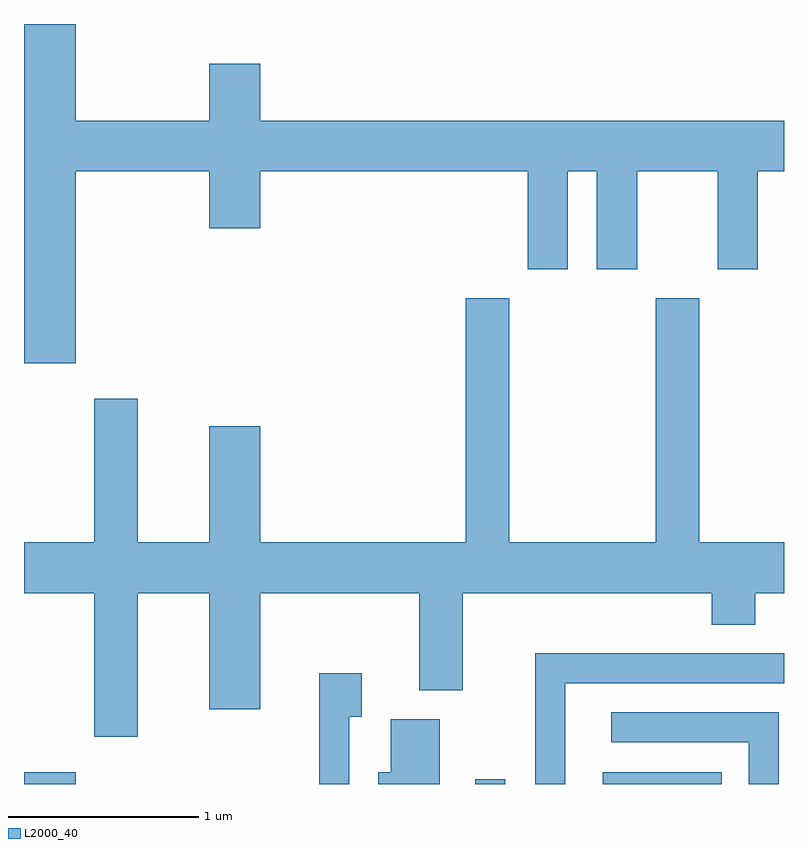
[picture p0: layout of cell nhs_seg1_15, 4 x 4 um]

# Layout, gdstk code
import gdstk
lib = gdstk.Library(unit=1e-6, precision=1e-09)
def R(c, l, rs):  # rectangles x0, y0, x1, y1
    for r in rs: c.add(gdstk.rectangle(r[:2], r[2:], *l))
def P(c, l, *ps):  # polygons
    for p in ps: c.add(gdstk.Polygon(p, *l))
L2000_40 = (2000, 40)

nhs_seg1_15 = lib.new_cell('nhs_seg1_15')
R(nhs_seg1_15, L2000_40, [(185.611,869.712,185.884,869.774), (187.986,869.712,188.144,869.738), (188.656,869.712,189.283,869.774)])
P(nhs_seg1_15, L2000_40, [(185.884,872.936),(186.586,872.936),(186.586,872.636),(186.854,872.636),(186.854,872.936),(188.261,872.936),(188.261,872.421),(188.474,872.421),(188.474,872.936),(188.626,872.936),(188.626,872.421),(188.839,872.421),(188.839,872.936),(189.261,872.936),(189.261,872.421),(189.474,872.421),(189.474,872.936),(189.611,872.936),(189.611,873.204),(186.854,873.204),(186.854,873.504),(186.586,873.504),(186.586,873.204),(185.884,873.204),(185.884,873.712),(185.611,873.712),(185.611,871.926),(185.884,871.926)],
  [(186.209,870.716),(186.586,870.716),(186.586,870.106),(186.854,870.106),(186.854,870.716),(187.691,870.716),(187.691,870.206),(187.919,870.206),(187.919,870.716),(189.231,870.716),(189.231,870.551),(189.459,870.551),(189.459,870.716),(189.611,870.716),(189.611,870.984),(189.164,870.984),(189.164,872.269),(188.936,872.269),(188.936,870.984),(188.164,870.984),(188.164,872.269),(187.936,872.269),(187.936,870.984),(186.854,870.984),(186.854,871.594),(186.586,871.594),(186.586,870.984),(186.209,870.984),(186.209,871.739),(185.981,871.739),(185.981,870.984),(185.611,870.984),(185.611,870.716),(185.981,870.716),(185.981,869.961),(186.209,869.961)],
  [(188.459,870.241),(189.611,870.241),(189.611,870.399),(188.301,870.399),(188.301,869.712),(188.459,869.712)],
  [(187.324,870.066),(187.389,870.066),(187.389,870.294),(187.166,870.294),(187.166,869.712),(187.324,869.712)],
  [(189.584,870.089),(188.703,870.089),(188.703,869.931),(189.426,869.931),(189.426,869.712),(189.584,869.712)],
  [(187.799,870.054),(187.541,870.054),(187.541,869.774),(187.476,869.774),(187.476,869.712),(187.799,869.712)])

lib.write_gds('nhs_seg1_15.gds')
